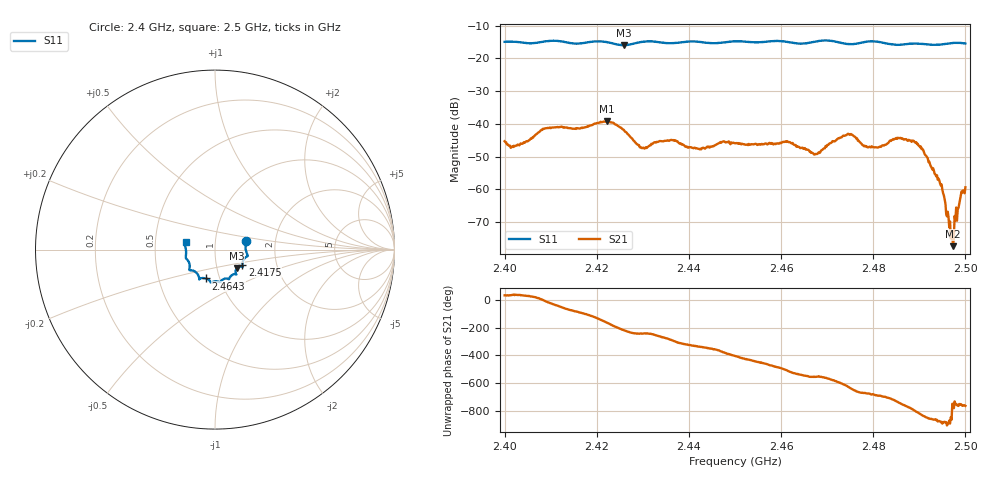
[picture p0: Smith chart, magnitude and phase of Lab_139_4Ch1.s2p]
# Hz S RI R 50
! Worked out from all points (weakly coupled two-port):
!   601 points, 2.4 GHz to 2.5 GHz, reference 50 ohm
!   highest |S21| = -39.26 dB at 2.4222 GHz (marker M1); lowest = -77.4 dB at 2.4973 GHz (marker M2)
!   lowest |S11| = -16.0 dB at 2.4258 GHz (marker M3), VSWR 1.38, Z = 62.3 - j13.2 ohm
!   |S11| at or under -10 dB: start of sweep to end of sweep
!   S12 and S22 are empty: the file has one direction only
!   S11 on the Smith chart (normalised r, x): 2.4 GHz: 1.41, +0.14; 2.4175 GHz: 1.34, -0.23; 2.4643 GHz: 0.86, -0.28; 2.5 GHz: 0.72, +0.06
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2.4e9  0.173 0.0488  0.00458 0.0029  0 0  0 0
2.408833e9  0.1804 -0.0279  0.00842 -0.00143  0 0  0 0
2.416667e9  0.1532 -0.0744  -0.000609 -0.0087  0 0  0 0
2.4175e9  0.1522 -0.0839  -0.00197 -0.00868  0 0  0 0
2.422167e9  0.1503 -0.0952  -0.0105 -0.00294  0 0  0 0
2.425833e9  0.1215 -0.1031  -0.00639 0.00502  0 0  0 0
2.429833e9  0.1171 -0.1355  -0.00183 0.00383  0 0  0 0
2.433333e9  0.1128 -0.1374  -0.000786 0.00526  0 0  0 0
2.442167e9  0.0737 -0.1638  0.00384 0.00158  0 0  0 0
2.45e9  0.0289 -0.181  0.00362 -0.00356  0 0  0 0
2.464333e9  -0.0499 -0.1607  -0.00429 2.4e-05  0 0  0 0
2.466667e9  -0.076 -0.1593  -0.00352 0.000942  0 0  0 0
2.474667e9  -0.1031 -0.1294  -0.000141 0.00701  0 0  0 0
2.4785e9  -0.1386 -0.1151  0.00322 0.00324  0 0  0 0
2.483333e9  -0.1407 -0.09  0.00505 0.00111  0 0  0 0
2.485833e9  -0.1486 -0.0643  0.0055 -0.0026  0 0  0 0
2.4905e9  -0.1627 -0.0377  -0.00138 -0.00387  0 0  0 0
2.494667e9  -0.1629 0.00628  -0.00106 -0.000441  0 0  0 0
2.496833e9  -0.1691 0.0258  -0.000107 -0.000142  0 0  0 0
2.497333e9  -0.1702 0.0287  9.89e-05 -9.18e-05  0 0  0 0
2.499e9  -0.1686 0.037  0.000662 -0.000405  0 0  0 0
2.5e9  -0.1639 0.0426  0.000766 -0.00075  0 0  0 0
